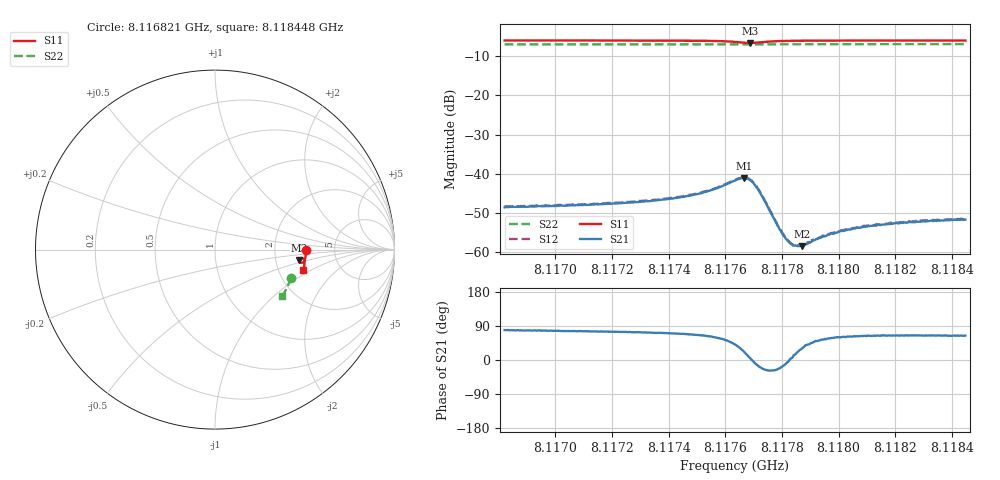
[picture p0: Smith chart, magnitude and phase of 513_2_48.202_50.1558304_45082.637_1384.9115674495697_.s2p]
#  HZ  S  RI  R  50.00
! Rohde & Schwarz Vector Network Analyzer
! Rohde-Schwarz,ZNB20-2Port,1311601062101988,3.16
! Created: UTC 3/20/2024, 11:59:03 AM
! freq[Hz]  re:S11  im:S11  re:S21  im:S21  re:S12  im:S12  re:S22  im:S22
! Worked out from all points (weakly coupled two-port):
!   401 points, 8.116821 GHz to 8.118448 GHz, reference 50 ohm
!   highest |S21| = -41.15 dB at 8.117667 GHz (marker M1); lowest = -58.6 dB at 8.11787 GHz (marker M2)
!   lowest |S11| = -6.5 dB at 8.117687 GHz (marker M3), VSWR 2.78, Z = 136 - j20.3 ohm
!   |S11| at or under -10 dB: nowhere
!   |S22| runs from -6.9 to -6.8 dB; largest |S21 - S12| = 0.00023
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8.1168211e9  0.5069 -0.00203  0.000705 0.00362  0.000782 0.0037  0.4228 -0.1565
8.1170936e9  0.5059 -0.0234  0.000974 0.00381  0.00101 0.00392  0.4167 -0.1745
8.1173661e9  0.5031 -0.0462  0.00146 0.00435  0.0015 0.0044  0.4094 -0.1923
8.1175125e9  0.4987 -0.0609  0.00235 0.00507  0.00244 0.00518  0.4052 -0.2018
8.1175654e9  0.4947 -0.0675  0.00324 0.00551  0.00334 0.00563  0.4035 -0.2053
8.1176346e9  0.4804 -0.0739  0.00617 0.00536  0.00633 0.00544  0.4008 -0.2094
8.1176671e9  0.4696 -0.0679  0.00817 0.00317  0.00832 0.00325  0.3995 -0.2111
8.1176874e9  0.4674 -0.0583  0.00822 0.000745  0.00836 0.000702  0.3989 -0.2118
8.1177037e9  0.4708 -0.0508  0.00716 -0.000932  0.00737 -0.000955  0.3987 -0.2125
8.11772e9  0.477 -0.0471  0.00565 -0.00181  0.00579 -0.00184  0.3986 -0.2134
8.1177972e9  0.4953 -0.0555  0.00172 -0.000594  0.00175 -0.000615  0.3968 -0.2186
8.1178176e9  0.4969 -0.0586  0.00141 -0.000175  0.00142 -0.000186  0.3963 -0.2199
8.1178298e9  0.4975 -0.0604  0.00127 6.83e-05  0.0013 1.03e-05  0.396 -0.2207
8.117842e9  0.4979 -0.0622  0.00116 0.000267  0.00116 0.000237  0.3957 -0.2215
8.1178705e9  0.4986 -0.0657  0.00101 0.000592  0.00106 0.000606  0.3948 -0.2233
8.1179071e9  0.4989 -0.0702  0.000951 0.000971  0.000983 0.00097  0.3936 -0.2259
8.1179681e9  0.4988 -0.0764  0.000887 0.00139  0.000904 0.00142  0.3916 -0.2296
8.1180088e9  0.4984 -0.0804  0.000921 0.00162  0.000944 0.00162  0.3902 -0.2321
8.118082e9  0.4977 -0.0868  0.000917 0.00183  0.000955 0.00186  0.3878 -0.2367
8.1181796e9  0.4963 -0.095  0.000959 0.00204  0.001 0.00209  0.3844 -0.2427
8.1182894e9  0.4946 -0.1036  0.00102 0.00219  0.00107 0.00227  0.3806 -0.2494
8.118448e9  0.492 -0.1157  0.00112 0.00232  0.00114 0.00233  0.3747 -0.2588
